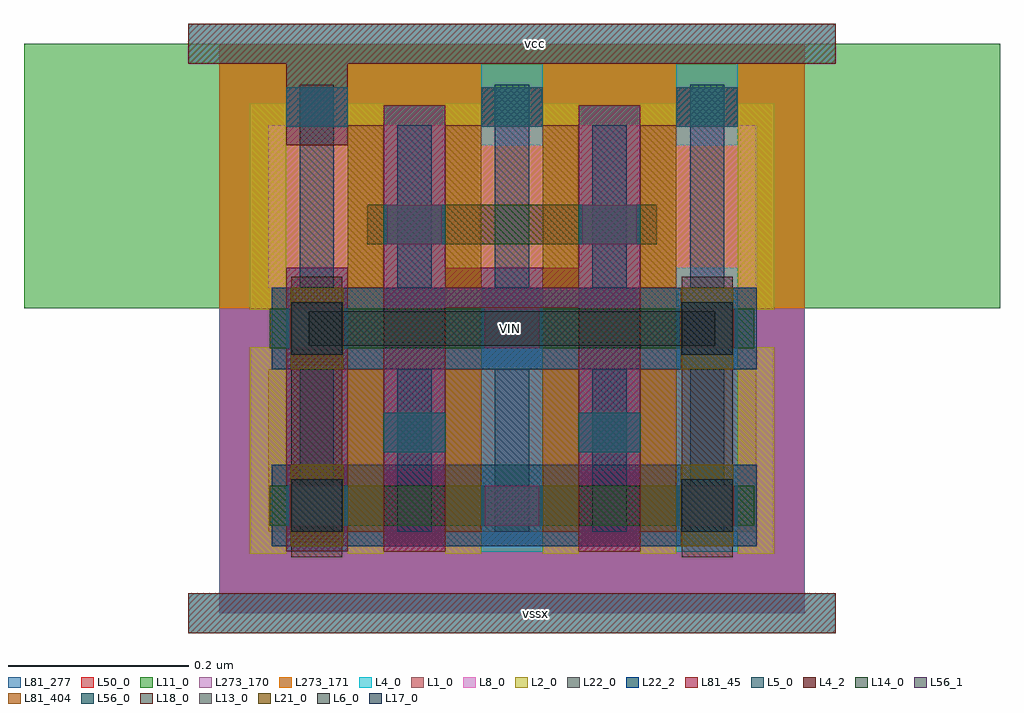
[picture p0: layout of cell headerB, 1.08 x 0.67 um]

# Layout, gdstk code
import gdstk
lib = gdstk.Library(unit=1e-6, precision=5e-10)
def R(c, l, rs):  # rectangles x0, y0, x1, y1
    for r in rs: c.add(gdstk.rectangle(r[:2], r[2:], *l))
def A(c, l, x, y, w, h, nx, ny, dx, dy):  # array of equal rectangles
    R(c, l, [(x+i*dx, y+j*dy, x+i*dx+w, y+j*dy+h) for i in range(nx) for j in range(ny)])
L1_0 = (1, 0)
L2_0 = (2, 0)
L4_0 = (4, 0)
L4_2 = (4, 2)
L5_0 = (5, 0)
L6_0 = (6, 0)
L8_0 = (8, 0)
L11_0 = (11, 0)
L13_0 = (13, 0)
L14_0 = (14, 0)
L17_0 = (17, 0)
L18_0 = (18, 0)
L21_0 = (21, 0)
L22_0 = (22, 0)
L22_2 = (22, 2)
L50_0 = (50, 0)
L56_0 = (56, 0)
L56_1 = (56, 1)
L81_45 = (81, 45)
L81_277 = (81, 277)
L81_404 = (81, 404)
L273_170 = (273, 170)
L273_171 = (273, 171)

headerb = lib.new_cell('headerB')
A(headerb, L1_0, 0.089, 0.09, 0.038, 0.18, 5, 1, 0.108, 0)
A(headerb, L1_0, 0.142, 0.09, 0.04, 0.18, 4, 1, 0.108, 0)
R(headerb, L1_0, [(0.054,0.09,0.142,0.27), (0.182,0.09,0.25,0.27), (0.182,0.09,0.25,0.27), (0.29,0.09,0.358,0.27), (0.29,0.09,0.358,0.27), (0.398,0.09,0.466,0.27), (0.398,0.09,0.466,0.27), (0.506,0.09,0.594,0.27)])
A(headerb, L2_0, 0.142, 0.066, 0.04, 0.024, 4, 2, 0.108, 0.204)
A(headerb, L2_0, 0.142, 0.09, 0.04, 0.18, 4, 2, 0.108, 0.27)
A(headerb, L2_0, 0.142, 0.336, 0.04, 0.024, 4, 2, 0.108, 0.204)
A(headerb, L4_0, 0.074, 0.52, 0.068, 0.044, 3, 1, 0.216, 0)
R(headerb, L4_0, [(0.074,0.293,0.142,0.337), (0.182,0.448,0.25,0.492), (0.398,0.448,0.466,0.492)])
R(headerb, L4_2, [(-0.034,-0.022,0.682,0.022)])
A(headerb, L5_0, 0.089, 0.09, 0.038, 0.18, 5, 2, 0.108, 0.27)
A(headerb, L5_0, 0.197, 0.155, 0.038, 0.003, 4, 2, 0.108, 0.047)
A(headerb, L5_0, 0.197, 0.158, 0.038, 0.044, 4, 1, 0.108, 0)
A(headerb, L5_0, 0.089, 0.535, 0.038, 0.003, 3, 2, 0.216, 0.047)
A(headerb, L5_0, 0.089, 0.538, 0.038, 0.044, 3, 1, 0.216, 0)
R(headerb, L5_0, [(0.197,0.445,0.235,0.448), (0.413,0.445,0.451,0.448), (0.197,0.448,0.235,0.492), (0.413,0.448,0.451,0.492), (0.197,0.492,0.235,0.495), (0.413,0.492,0.451,0.495)])
R(headerb, L6_0, [(0.099,0.296,0.117,0.334)])
A(headerb, L8_0, 0.089, 0.36, 0.038, 0.18, 5, 1, 0.108, 0)
A(headerb, L8_0, 0.142, 0.36, 0.04, 0.18, 4, 1, 0.108, 0)
R(headerb, L8_0, [(0.054,0.36,0.142,0.54), (0.182,0.36,0.25,0.54), (0.182,0.36,0.25,0.54), (0.29,0.36,0.358,0.54), (0.29,0.36,0.358,0.54), (0.398,0.36,0.466,0.54), (0.398,0.36,0.466,0.54), (0.506,0.36,0.594,0.54)])
R(headerb, L11_0, [(-0.216,0.3375,0.864,0.63)])
A(headerb, L13_0, 0.078, 0.097, 0.06, 0.044, 3, 2, 0.216, 0.196)
R(headerb, L13_0, [(0.186,0.408,0.246,0.452), (0.402,0.408,0.462,0.452)])
R(headerb, L14_0, [(0.056,0.097,0.592,0.141), (0.056,0.293,0.592,0.337), (0.164,0.408,0.484,0.452)])
R(headerb, L17_0, [(0.08,0.09,0.136,0.148), (0.512,0.09,0.568,0.148), (0.08,0.286,0.136,0.344), (0.512,0.286,0.568,0.344)])
R(headerb, L18_0, [(0.08,0.062,0.136,0.372), (0.512,0.062,0.568,0.372)])
R(headerb, L21_0, [(0.079,0.074,0.137,0.164), (0.511,0.074,0.569,0.164), (0.079,0.27,0.137,0.36), (0.511,0.27,0.569,0.36)])
R(headerb, L22_0, [(0.058,0.074,0.595,0.164), (0.058,0.27,0.595,0.36)])
R(headerb, L22_2, [(0.058,0.074,0.595,0.164), (0.058,0.27,0.595,0.36)])
R(headerb, L50_0, [(0,0,0.648,0.63)])
A(headerb, L56_0, 0.074, 0.097, 0.068, 0.044, 3, 2, 0.216, 0.196)
A(headerb, L56_0, 0.074, 0.538, 0.068, 0.044, 3, 1, 0.216, 0)
R(headerb, L56_0, [(0.182,0.178,0.25,0.222), (0.398,0.178,0.466,0.222), (0.074,0.293,0.142,0.337), (0.182,0.408,0.25,0.452), (0.398,0.408,0.466,0.452)])
A(headerb, L56_1, 0.074, 0.538, 0.068, 0.044, 3, 1, 0.216, 0)
R(headerb, L56_1, [(0.074,0.097,0.142,0.141), (0.29,0.097,0.358,0.141), (0.29,0.097,0.358,0.141), (0.506,0.097,0.574,0.141), (0.506,0.097,0.574,0.141), (0.182,0.178,0.25,0.222), (0.398,0.178,0.466,0.222), (0.074,0.293,0.142,0.337), (0.074,0.293,0.142,0.337), (0.29,0.293,0.358,0.337), (0.29,0.293,0.358,0.337), (0.29,0.293,0.358,0.337), (0.506,0.293,0.574,0.337), (0.506,0.293,0.574,0.337), (0.506,0.293,0.574,0.337), (0.182,0.408,0.25,0.452), (0.398,0.408,0.466,0.452)])
R(headerb, L81_45, [(0.182,0.068,0.25,0.562), (0.398,0.068,0.466,0.562), (0.074,0.0685,0.142,0.3825), (0.25,0.338,0.398,0.382)])
A(headerb, L81_277, 0.142, 0.09, 0.04, 0.18, 4, 2, 0.108, 0.27)
R(headerb, L81_277, [(0,0,0.648,0.63)])
A(headerb, L81_404, 0.142, 0.09, 0.04, 0.18, 4, 2, 0.108, 0.27)
A(headerb, L273_170, 0.142, 0.09, 0.04, 0.18, 4, 1, 0.108, 0)
R(headerb, L273_170, [(0,0,0.648,0.3375)])
A(headerb, L273_171, 0.142, 0.36, 0.04, 0.18, 4, 1, 0.108, 0)
R(headerb, L273_171, [(0,0.3375,0.648,0.63)])
headerb.add(gdstk.FlexPath([(0.324,0.068),(0.324,0.382)], 0.068, ends="flush", simple_path=True, layer=4, datatype=0))  # L4_0
headerb.add(gdstk.FlexPath([(0.108,0.068),(0.108,0.382)], 0.068, ends="flush", simple_path=True, layer=4, datatype=0))  # L4_0
headerb.add(gdstk.FlexPath([(0.108,0.518),(0.108,0.608)], 0.068, ends="flush", simple_path=True, layer=4, datatype=0))  # L4_0
headerb.add(gdstk.FlexPath([(0.216,0.158),(0.216,0.562)], 0.068, ends="flush", simple_path=True, layer=4, datatype=0))  # L4_0
headerb.add(gdstk.FlexPath([(0.432,0.158),(0.432,0.562)], 0.068, ends="flush", simple_path=True, layer=4, datatype=0))  # L4_0
headerb.add(gdstk.FlexPath([(0.54,0.518),(0.54,0.608)], 0.068, ends="flush", simple_path=True, layer=4, datatype=0))  # L4_0
headerb.add(gdstk.FlexPath([(0.324,0.518),(0.324,0.608)], 0.068, ends="flush", simple_path=True, layer=4, datatype=0))  # L4_0
headerb.add(gdstk.FlexPath([(-0.034,0),(0.682,0)], 0.044, ends="flush", simple_path=True, layer=4, datatype=0))  # L4_0
headerb.add(gdstk.FlexPath([(-0.034,0.63),(0.682,0.63)], 0.044, ends="flush", simple_path=True, layer=4, datatype=0))  # L4_0
headerb.add(gdstk.FlexPath([(0.54,0.068),(0.54,0.382)], 0.068, ends="flush", simple_path=True, layer=4, datatype=0))  # L4_0
headerb.add(gdstk.FlexPath([(0.108,0.518),(0.108,0.608)], 0.068, ends="flush", simple_path=True, layer=4, datatype=2))  # L4_2
headerb.add(gdstk.FlexPath([(-0.034,0.63),(0.682,0.63)], 0.044, ends="flush", simple_path=True, layer=4, datatype=2))  # L4_2
headerb.add(gdstk.FlexPath([(0.054,0.336),(0.054,0.564)], 0.04, ends="flush", simple_path=True, layer=2, datatype=0))  # L2_0
headerb.add(gdstk.FlexPath([(0.054,0.066),(0.054,0.294)], 0.04, ends="flush", simple_path=True, layer=2, datatype=0))  # L2_0
headerb.add(gdstk.FlexPath([(0.162,0.294),(0.162,0.336)], 0.04, ends="flush", simple_path=True, layer=2, datatype=0))  # L2_0
headerb.add(gdstk.FlexPath([(0.27,0.294),(0.27,0.336)], 0.04, ends="flush", simple_path=True, layer=2, datatype=0))  # L2_0
headerb.add(gdstk.FlexPath([(0.378,0.294),(0.378,0.336)], 0.04, ends="flush", simple_path=True, layer=2, datatype=0))  # L2_0
headerb.add(gdstk.FlexPath([(0.486,0.294),(0.486,0.336)], 0.04, ends="flush", simple_path=True, layer=2, datatype=0))  # L2_0
headerb.add(gdstk.FlexPath([(0.594,0.336),(0.594,0.564)], 0.04, ends="flush", simple_path=True, layer=2, datatype=0))  # L2_0
headerb.add(gdstk.FlexPath([(0.594,0.066),(0.594,0.294)], 0.04, ends="flush", simple_path=True, layer=2, datatype=0))  # L2_0
headerb.add(gdstk.FlexPath([(0.099,0.315),(0.549,0.315)], 0.038, ends="flush", simple_path=True, layer=6, datatype=0))  # L6_0
headerb.add(gdstk.Label('vcc', (0.3495,0.63), layer=4, texttype=2))
headerb.add(gdstk.Label('vssx', (0.3495,0), layer=4, texttype=2))
headerb.add(gdstk.Label('VIN', (0.3225,0.315), layer=22, texttype=2))

lib.write_gds('headerB.gds')
